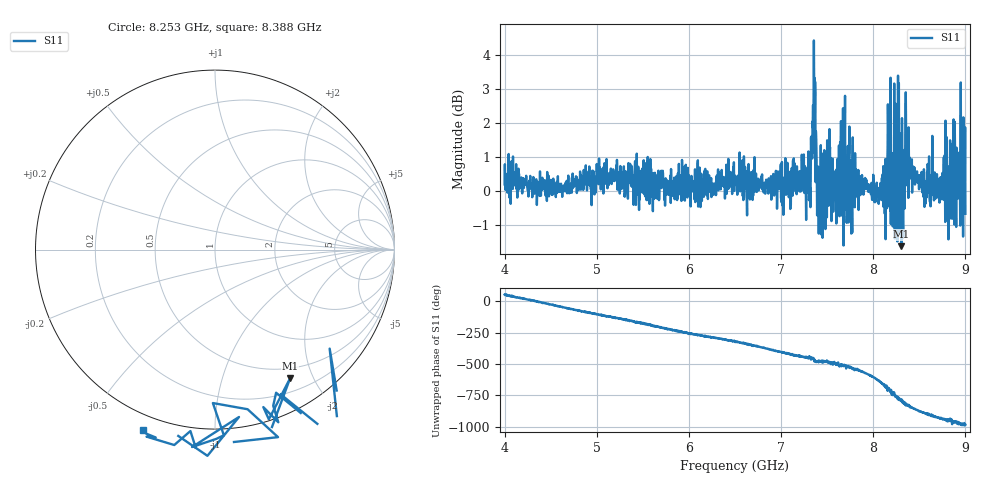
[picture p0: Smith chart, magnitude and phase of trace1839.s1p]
! Created with skrf 1.8.0 (http://scikit-rf.org).
# Hz S RI R 50.0
!freq ReS11 ImS11
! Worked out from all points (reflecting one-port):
!   1601 points, 4 GHz to 9 GHz, reference 50 ohm
!   lowest |S11| = -1.6 dB at 8.306 GHz (marker M1), VSWR 10.81, Z = 18.2 - j84.1 ohm
!   phase of S11 starts at 53 deg and turns -1035 deg over the sweep
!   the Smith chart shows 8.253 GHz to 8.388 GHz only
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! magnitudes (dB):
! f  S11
! 4 GHz  0.2
! 4.625 GHz  -0.2
! 5.25 GHz  -0.1
! 5.875 GHz  0.3
! 6.5 GHz  0.5
! 7.125 GHz  -0.1
! 7.294 GHz  0.7
! 7.356 GHz  4.4
! 7.378 GHz  1.7
! 7.4 GHz  0.7
! 7.428 GHz  0.0
! 7.519 GHz  0.8
! 7.609 GHz  0.5
! 7.669 GHz  0.3
! 7.75 GHz  0.5
! 8.066 GHz  0.1
! 8.128 GHz  -0.4
! 8.178 GHz  1.8
! 8.197 GHz  0.4
! 8.222 GHz  -0.6
! 8.262 GHz  -1.5
! 8.306 GHz  -1.6
! 8.334 GHz  0.9
! 8.375 GHz  0.8
! 8.556 GHz  -0.5
! 8.919 GHz  0.0
! 8.972 GHz  0.3
! 9 GHz  -0.7
